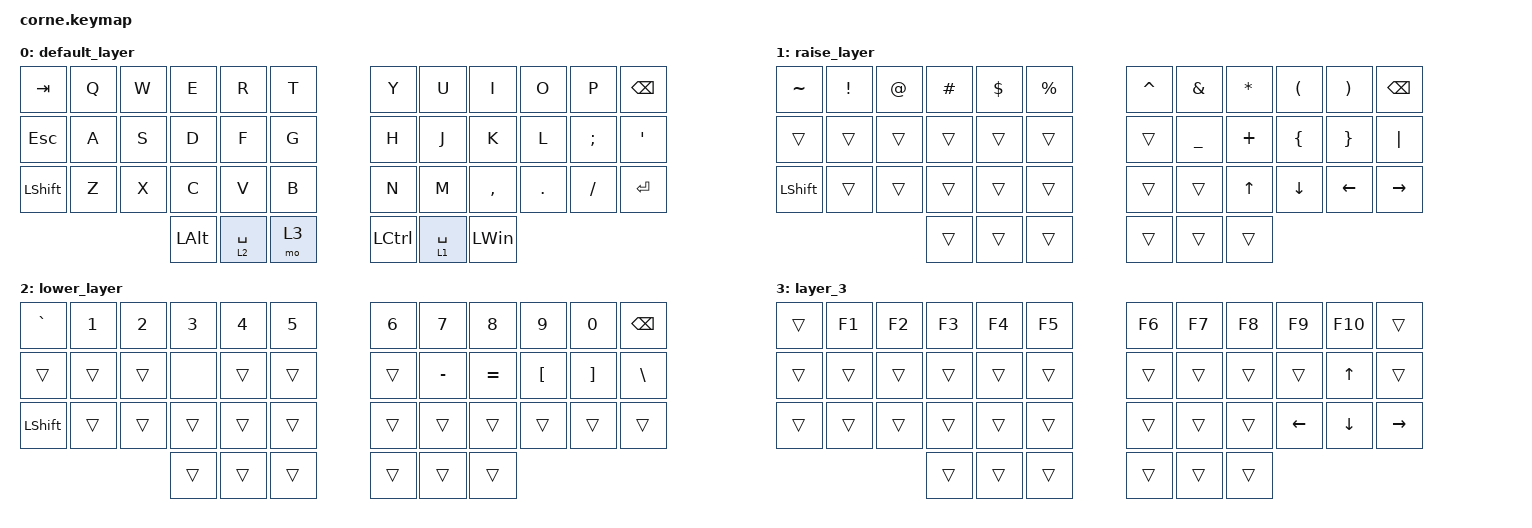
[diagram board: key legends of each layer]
/*
 * Copyright (c) 2020 The ZMK Contributors
 *
 * SPDX-License-Identifier: MIT
 */

#include <behaviors.dtsi>
#include <dt-bindings/zmk/keys.h>

/ {
    keymap {
        compatible = "zmk,keymap";

        default_layer {
            // -----------------------------------------------------------------------------------------
            // |  TAB |  Q  |  W  |  E  |  R  |  T  |   |  Y  |  U   |  I  |  O  |  P  | BKSP |
            // | CTRL |  A  |  S  |  D  |  F  |  G  |   |  H  |  J   |  K  |  L  |  ;  |  '   |
            // | SHFT |  Z  |  X  |  C  |  V  |  B  |   |  N  |  M   |  ,  |  .  |  /  | ESC  |
            //                    | GUI | LWR | SPC |   | ENT | RSE  | ALT |

            bindings = <
&kp TAB     &kp Q  &kp W  &kp E         &kp R        &kp T    &kp Y             &kp U        &kp I         &kp O    &kp P     &kp BSPC
&kp ESCAPE  &kp A  &kp S  &kp D         &kp F        &kp G    &kp H             &kp J        &kp K         &kp L    &kp SEMI  &kp SQT
&kp LSHFT   &kp Z  &kp X  &kp C         &kp V        &kp B    &kp N             &kp M        &kp COMMA     &kp DOT  &kp FSLH  &kp ENTER
                          &kp LEFT_ALT  &lt 2 SPACE  &mo 3    &kp LEFT_CONTROL  &lt 1 SPACE  &kp LEFT_WIN
            >;
        };

        raise_layer {
            // -----------------------------------------------------------------------------------------
            // |  TAB |  !  |  @  |  #  |  $  |  %  |   |  ^  |  &  |  *  |  (  |  )  | BKSP |
            // | CTRL |     |     |     |     |     |   |  -  |  =  |  [  |  ]  |  \  |  `   |
            // | SHFT |     |     |     |     |     |   |  _  |  +  |  {  |  }  | "|" |  ~   |
            //                    | GUI |     | SPC |   | ENT |     | ALT |

            bindings = <
&kp TILDE  &kp EXCL  &kp AT  &kp HASH  &kp DLLR  &kp PRCNT    &kp CARET  &kp AMPS        &kp ASTRK     &kp LPAR        &kp RPAR         &kp BSPC
&trans     &trans    &trans  &trans    &trans    &trans       &trans     &kp UNDERSCORE  &kp PLUS      &kp LEFT_BRACE  &kp RIGHT_BRACE  &kp PIPE
&kp LSHFT  &trans    &trans  &trans    &trans    &trans       &trans     &trans          &kp UP_ARROW  &kp DOWN_ARROW  &kp LEFT         &kp RIGHT_ARROW
                             &trans    &trans    &trans       &trans     &trans          &trans
            >;
        };

        lower_layer {
            // -----------------------------------------------------------------------------------------
            // |  TAB |  1  |  2  |  3  |  4  |  5  |   |  6  |  7  |  8  |  9  |  0  | BKSP |
            // | BTCLR| BT1 | BT2 | BT3 | BT4 | BT5 |   | LFT | DWN |  UP | RGT |     |      |
            // | SHFT |     |     |     |     |     |   |     |     |     |     |     |      |
            //                    | GUI |     | SPC |   | ENT |     | ALT |

            bindings = <
&kp GRAVE  &kp N1  &kp N2  &kp N3  &kp N4  &kp N5    &kp N6  &kp N7     &kp N8     &kp N9            &kp N0             &kp BSPC
&trans     &trans  &trans  &none   &trans  &trans    &trans  &kp MINUS  &kp EQUAL  &kp LEFT_BRACKET  &kp RIGHT_BRACKET  &kp BACKSLASH
&kp LSHFT  &trans  &trans  &trans  &trans  &trans    &trans  &trans     &trans     &trans            &trans             &trans
                           &trans  &trans  &trans    &trans  &trans     &trans
            >;
        };

        layer_3 {
            bindings = <
&trans  &kp F1  &kp F2  &kp F3  &kp F4  &kp F5    &kp F6  &kp F7  &kp F8  &kp F9          &kp F10         &trans
&trans  &trans  &trans  &trans  &trans  &trans    &trans  &trans  &trans  &trans          &kp UP_ARROW    &trans
&trans  &trans  &trans  &trans  &trans  &trans    &trans  &trans  &trans  &kp LEFT_ARROW  &kp DOWN_ARROW  &kp RIGHT
                        &trans  &trans  &trans    &trans  &trans  &trans
            >;
        };
    };
};
